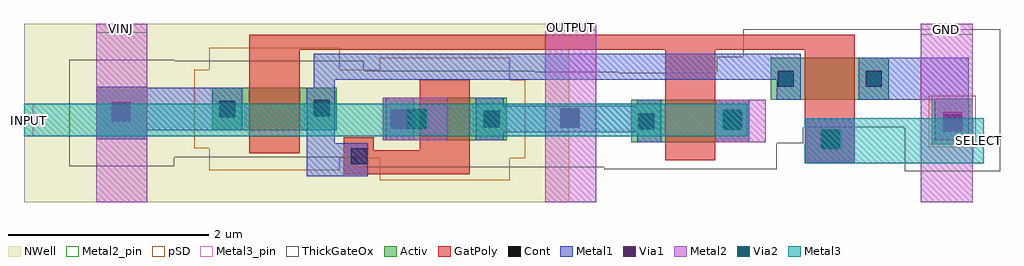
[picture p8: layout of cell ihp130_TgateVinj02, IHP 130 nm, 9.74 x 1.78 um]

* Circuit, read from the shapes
.subckt ihp130_TgateVinj02 GND INPUT OUTPUT SELECT VINJ
XM1 INPUT SELECT OUTPUT GND sg13_hv_nmos w=0.42u l=0.5u
XM2 GND SELECT n1 GND sg13_hv_nmos w=0.42u l=0.5u
XM3 n1 SELECT VINJ VINJ sg13_hv_pmos w=0.42u l=0.5u
XM4 OUTPUT n1 INPUT VINJ sg13_hv_pmos w=0.42u l=0.5u
.ends

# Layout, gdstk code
import gdstk
lib = gdstk.Library(unit=1e-6, precision=1e-09)
def R(c, l, rs):  # rectangles x0, y0, x1, y1
    for r in rs: c.add(gdstk.rectangle(r[:2], r[2:], *l))
Activ = (1, 0)
GatPoly = (5, 0)
Cont = (6, 0)
Metal1 = (8, 0)
Metal2 = (10, 0)
Metal2_pin = (10, 2)
pSD = (14, 0)
Via1 = (19, 0)
Via2 = (29, 0)
Metal3 = (30, 0)
Metal3_pin = (30, 2)
NWell = (31, 0)
ThickGateOx = (44, 0)

ihp130_tgatevinj02 = lib.new_cell('ihp130_TgateVinj02')
R(ihp130_tgatevinj02, Activ, [(5.34,0.05,5.75,0.5), (2.34,0.07,3.52,0.49), (-0.14,0.09,1.1,0.51), (-3,0.1,-2.49,0.62), (-1.84,0.19,-0.6,0.61), (3.73,0.49,4.91,0.91)])
R(ihp130_tgatevinj02, GatPoly, [(-0.53,-0.25,0.73,-0.01), (4.07,-0.14,4.57,0.99), (2.68,-0.11,3.18,0.99), (-1.47,-0.04,-0.97,0.99), (-0.53,-0.01,-0.23,0.12), (0.23,-0.01,0.73,0.69), (-1.47,0.99,4.57,1.14)])
R(ihp130_tgatevinj02, Cont, [(-0.46,-0.15,-0.3,0.01), (4.25,0.02,4.41,0.18), (5.465,0.19,5.625,0.35), (2.41,0.2,2.57,0.36), (3.29,0.2,3.45,0.36), (-0.06,0.22,0.1,0.38), (0.87,0.22,1.03,0.38), (-2.83,0.295,-2.67,0.455), (-1.77,0.32,-1.61,0.48), (-0.83,0.33,-0.67,0.49), (3.8,0.62,3.96,0.78), (4.68,0.62,4.84,0.78)])
R(ihp130_tgatevinj02, Metal1, [(-0.9,-0.27,-0.29,0.06), (4.07,-0.14,4.57,0.31), (-0.9,0.06,-0.62,0.61), (2.4,0.07,2.64,0.17), (3.18,0.07,3.52,0.49), (-0.11,0.09,0.17,0.51), (0.79,0.09,1.07,0.17), (5.37,0.09,5.71,0.49), (-3,0.1,-2.49,0.19), (0.79,0.17,2.64,0.43), (-3,0.19,-1.54,0.61), (0.79,0.43,1.07,0.51), (2.4,0.43,2.64,0.49), (3.79,0.49,4.03,0.69), (4.61,0.49,5.71,0.91), (-3,0.61,-2.49,0.62), (-0.83,0.61,-0.62,0.69), (-0.83,0.69,4.03,0.95)])
R(ihp130_tgatevinj02, Metal2, [(-3,-0.53,-2.49,1.25), (1.48,-0.53,1.99,1.25), (5.23,-0.53,5.75,1.25), (4.07,-0.14,4.57,0.31), (3.18,0.07,3.68,0.49), (-0.14,0.09,0.51,0.51)])
R(ihp130_tgatevinj02, Metal2_pin, [(5.23,1.14,5.75,1.25), (-3,1.16,-2.49,1.25), (1.48,1.18,1.99,1.25)])
R(ihp130_tgatevinj02, pSD, [(-0.17,-0.31,1.13,-0.09), (-1.87,-0.21,-0.57,-0.09), (-1.87,-0.09,1.28,0.01), (-2.02,0.01,1.28,0.69), (5.31,0.02,5.78,0.53), (-2.02,0.69,1.13,0.79), (-1.87,0.79,-0.57,1.01), (-0.17,0.79,1.13,0.91)])
R(ihp130_tgatevinj02, Via1, [(4.235,0.005,4.425,0.195), (5.455,0.18,5.645,0.37), (-0.055,0.205,0.135,0.395), (3.255,0.205,3.445,0.395), (1.63,0.215,1.82,0.405), (-2.845,0.28,-2.655,0.47)])
R(ihp130_tgatevinj02, Via2, [(4.235,0.005,4.425,0.195), (3.255,0.195,3.445,0.385), (0.105,0.205,0.295,0.395)])
R(ihp130_tgatevinj02, Metal3, [(4.07,-0.14,5.86,0.31), (-3.72,0.13,3.5,0.45)])
R(ihp130_tgatevinj02, Metal3_pin, [(5.75,-0.14,5.86,0.31), (-3.72,0.13,-3.63,0.45)])
R(ihp130_tgatevinj02, NWell, [(-3.72,-0.53,1.72,1.25)])
R(ihp130_tgatevinj02, ThickGateOx, [(5.07,-0.22,6.02,0.22), (2.07,-0.2,3.79,-0.18), (-0.41,-0.18,3.79,-0.08), (-3.27,-0.17,-2.22,-0.08), (-3.27,-0.08,3.79,0.06), (-3.27,0.06,4.055,0.22), (-3.27,0.22,6.02,0.76), (-3.27,0.76,2.205,0.77), (3.195,0.76,6.02,0.92), (-3.27,0.77,1.37,0.78), (-3.27,0.78,-0.33,0.88), (-3.27,0.88,-2.22,0.89), (3.46,0.92,6.02,1.195)])
ihp130_tgatevinj02.add(gdstk.Label('INPUT', (-3.675,0.29), layer=30, texttype=25))
ihp130_tgatevinj02.add(gdstk.Label('SELECT', (5.805,0.085), layer=30, texttype=25))
ihp130_tgatevinj02.add(gdstk.Label('VINJ', (-2.745,1.205), layer=10, texttype=25))
ihp130_tgatevinj02.add(gdstk.Label('OUTPUT', (1.735,1.215), layer=10, texttype=25))
ihp130_tgatevinj02.add(gdstk.Label('GND', (5.49,1.195), layer=10, texttype=25))

lib.write_gds('ihp130_TgateVinj02.gds')
